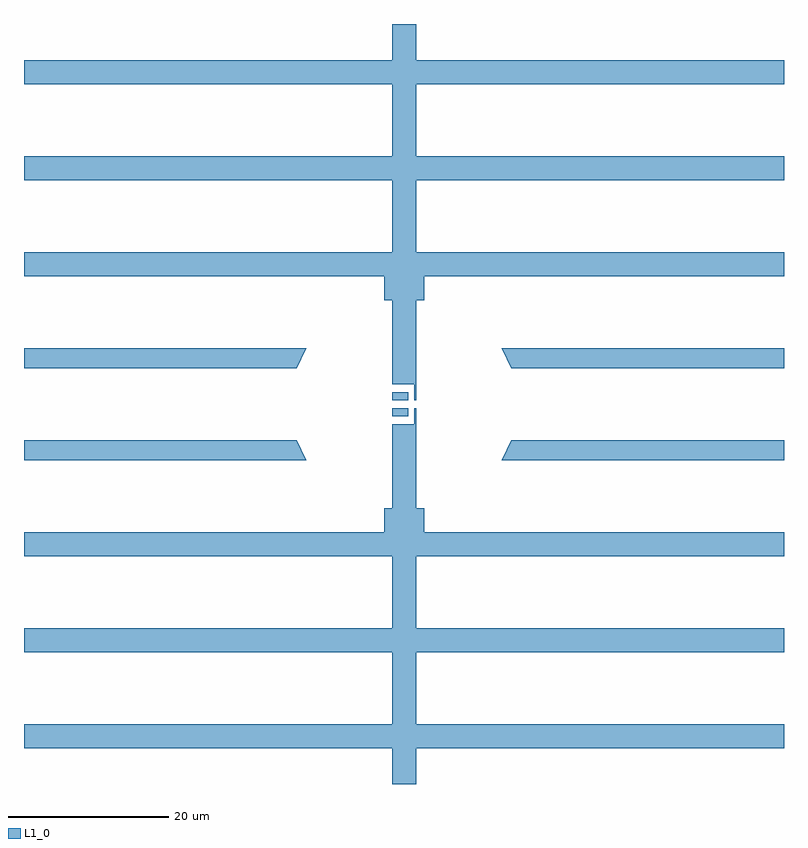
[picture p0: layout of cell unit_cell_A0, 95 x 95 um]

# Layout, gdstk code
from math import pi, radians
import gdstk
lib = gdstk.Library(unit=1e-6, precision=1e-09)
def R(c, l, rs):  # rectangles x0, y0, x1, y1
    for r in rs: c.add(gdstk.rectangle(r[:2], r[2:], *l))
def P(c, l, *ps):  # polygons
    for p in ps: c.add(gdstk.Polygon(p, *l))
L1_0 = (1, 0)

unnamed_2421 = lib.new_cell('Unnamed_2421')
P(unnamed_2421, L1_0, [(0,40.5),(0,43),(34.097,43),(35.273,40.5)],
  [(46,0),(46,4.5),(0,4.5),(0,7.5),(46,7.5),(46,16.5),(0,16.5),(0,19.5),(46,19.5),(46,28.5),(0,28.5),(0,31.5),(45,31.5),(45,34.5),(46,34.5),(46,45),(47.5,45),(47.5,0)])

unnamed_2422 = lib.new_cell('Unnamed_2422')
unnamed_2422.add(gdstk.Reference(unnamed_2421, (0,0)))

rectangle_s2_1_lwg_cfal_ = lib.new_cell('rectangle_S2_1_LWG_CFal_a0a9c26d')
R(rectangle_s2_1_lwg_cfal_, L1_0, [(0,0,2,1)])

rectangle_s0p2_2_lwg_cf_ = lib.new_cell('rectangle_S0p2_2_LWG_CF_9ef6d549')
R(rectangle_s0p2_2_lwg_cf_, L1_0, [(0,0,0.2,2)])

unnamed_2423 = lib.new_cell('Unnamed_2423')
unnamed_2423.add(gdstk.Reference(rectangle_s2_1_lwg_cfal_, (0,-1.5)))
unnamed_2423.add(gdstk.Reference(rectangle_s0p2_2_lwg_cf_, (2.8,-2.5)))

unit_cell_a0 = lib.new_cell('unit_cell_A0')
unit_cell_a0.add(gdstk.Reference(unnamed_2422, (0,0)))
unit_cell_a0.add(gdstk.Reference(unnamed_2422, (95,0), rotation=pi, x_reflection=True))
unit_cell_a0.add(gdstk.Reference(unnamed_2422, (0,95), x_reflection=True))
unit_cell_a0.add(gdstk.Reference(unnamed_2422, (95,95), rotation=pi))
unit_cell_a0.add(gdstk.Reference(unnamed_2423, (46,47.5)))
unit_cell_a0.add(gdstk.Reference(unnamed_2423, (46,47.5), x_reflection=True))

lib.write_gds('unit_cell_A0.gds')
